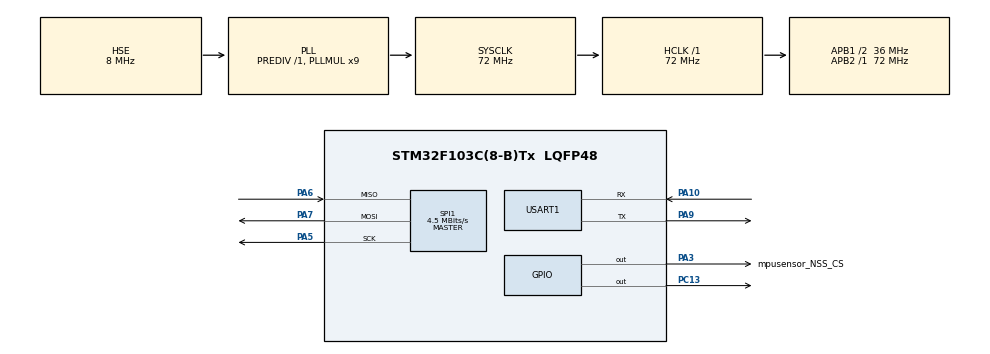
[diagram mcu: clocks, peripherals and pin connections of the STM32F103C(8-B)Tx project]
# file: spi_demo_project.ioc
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Mcu.Family=STM32F1
Mcu.Name=STM32F103C(8-B)Tx
Mcu.Package=LQFP48
NVIC.PriorityGroup=NVIC_PRIORITYGROUP_4
NVIC.USART1_IRQn=true\:0\:0\:false\:false\:true\:true\:true
PA10.Mode=Asynchronous
PA10.Signal=USART1_RX
PA13.Mode=Serial_Wire
PA13.Signal=SYS_JTMS-SWDIO
PA14.Mode=Serial_Wire
PA14.Signal=SYS_JTCK-SWCLK
PA3.GPIO_Label=mpusensor_NSS_CS
PA3.Signal=GPIO_Output
PA5.Mode=Full_Duplex_Master
PA5.Signal=SPI1_SCK
PA6.Mode=Full_Duplex_Master
PA6.Signal=SPI1_MISO
PA7.Mode=Full_Duplex_Master
PA7.Signal=SPI1_MOSI
PA9.Mode=Asynchronous
PA9.Signal=USART1_TX
PC13-TAMPER-RTC.Signal=GPIO_Output
PD0-OSC_IN.Mode=HSE-External-Oscillator
PD0-OSC_IN.Signal=RCC_OSC_IN
PD1-OSC_OUT.Mode=HSE-External-Oscillator
PD1-OSC_OUT.Signal=RCC_OSC_OUT
ProjectManager.HeapSize=0x200
ProjectManager.StackSize=0x400
ProjectManager.TargetToolchain=STM32CubeIDE
RCC.AHBFreq_Value=72000000
RCC.APB1CLKDivider=RCC_HCLK_DIV2
RCC.APB1Freq_Value=36000000
RCC.APB1TimFreq_Value=72000000
RCC.APB2Freq_Value=72000000
RCC.APB2TimFreq_Value=72000000
RCC.HCLKFreq_Value=72000000
RCC.PLLMUL=RCC_PLL_MUL9
RCC.PLLSourceVirtual=RCC_PLLSOURCE_HSE
RCC.SYSCLKFreq_VALUE=72000000
RCC.SYSCLKSource=RCC_SYSCLKSOURCE_PLLCLK
RCC.USBFreq_Value=72000000
SPI1.BaudRatePrescaler=SPI_BAUDRATEPRESCALER_16
SPI1.CalculateBaudRate=4.5 MBits/s
SPI1.Direction=SPI_DIRECTION_2LINES
SPI1.Mode=SPI_MODE_MASTER
SPI1.VirtualType=VM_MASTER
USART1.VirtualMode=VM_ASYNC
board=custom

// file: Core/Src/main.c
/* USER CODE BEGIN Header */
/**
 ******************************************************************************
 * @file           : main.c
 * @brief          : Main program body
 ******************************************************************************
 * @attention
 *
 * Copyright (c) 2026 STMicroelectronics.
 * All rights reserved.
 *
 * This software is licensed under terms that can be found in the LICENSE file
 * in the root directory of this software component.
 * If no LICENSE file comes with this software, it is provided AS-IS.
 *
 ******************************************************************************
 */
/* USER CODE END Header */
#include "main.h"

/* USER CODE BEGIN Includes */
#include "MPU6500.h"
#include <stdio.h>
#include <string.h>
/* USER CODE END Includes */

SPI_HandleTypeDef hspi1;

UART_HandleTypeDef huart1;

/* USER CODE BEGIN PV */
int MPU6500_FLAG = 0;

int16_t accel[3];
int16_t gyro[3];

int16_t sensor_data[9];

char msg[150];

float accel_g[3];
float gyro_dps[3];

/* USER CODE END PV */

void SystemClock_Config(void);
static void MX_GPIO_Init(void);
static void MX_SPI1_Init(void);
static void MX_USART1_UART_Init(void);

int main(void)
{

  /* MCU Configuration--------------------------------------------------------*/

  /* Reset of all peripherals, Initializes the Flash interface and the Systick. */
  HAL_Init();

  /* Configure the system clock */
  SystemClock_Config();

  /* Initialize all configured peripherals */
  MX_GPIO_Init();
  MX_SPI1_Init();
  MX_USART1_UART_Init();
  /* USER CODE BEGIN 2 */

	if (WHO_AM_I_MPU6500_REG_DEFAULT == MPU6500_TEST()) {

		MPU6500_FLAG = 1;
	    HAL_Delay(1000);
	    MPU6500_Calibrate();

	} else {
		MPU6500_FLAG = 0;
	}
  /* USER CODE END 2 */

  /* Infinite loop */
	while (1)
	{

    /* USER CODE BEGIN 3 */

		if (MPU6500_FLAG == 1)
		{
		    /* Read Accelerometer */
		    MPU6500_Read_Accel(&accel[0],
		                       &accel[1],
		                       &accel[2]);

		    /* Read Gyroscope */
		    MPU6500_Read_Gyro(&gyro[0],
		                      &gyro[1],
		                      &gyro[2]);

		    /* Print Converted Values Only */

		    sprintf(msg,
		            "AX=%.2f g AY=%.2f g AZ=%.2f g | "
		            "GX=%.2f dps GY=%.2f dps GZ=%.2f dps\r\n",

		            accel_g[0],
		            accel_g[1],
		            accel_g[2],

		            gyro_dps[0],
		            gyro_dps[1],
		            gyro_dps[2]);

		    HAL_UART_Transmit(&huart1,
		                      (uint8_t*)msg,
		                      strlen(msg),
		                      HAL_MAX_DELAY);

		    HAL_Delay(500);
		}
	    else
	    {
	        sprintf(msg,
	                "ERROR: MPU6500 NOT DETECTED\r\n");

//	        HAL_UART_Transmit(&huart1,
//	                          (uint8_t*)msg,
//	                          strlen(msg),
//	                          HAL_MAX_DELAY);

	        HAL_UART_Transmit(&huart1,
	                          (uint8_t*)msg,
	                          sizeof(msg),
	                          HAL_MAX_DELAY);
	        HAL_Delay(1000);
	    }

  /* USER CODE END 3 */
}
}

void SystemClock_Config(void)
{
  RCC_OscInitTypeDef RCC_OscInitStruct = {0};
  RCC_ClkInitTypeDef RCC_ClkInitStruct = {0};

  /** Initializes the RCC Oscillators according to the specified parameters
  * in the RCC_OscInitTypeDef structure.
  */
  RCC_OscInitStruct.OscillatorType = RCC_OSCILLATORTYPE_HSE;
  RCC_OscInitStruct.HSEState = RCC_HSE_ON;
  RCC_OscInitStruct.HSEPredivValue = RCC_HSE_PREDIV_DIV1;
  RCC_OscInitStruct.HSIState = RCC_HSI_ON;
  RCC_OscInitStruct.PLL.PLLState = RCC_PLL_ON;
  RCC_OscInitStruct.PLL.PLLSource = RCC_PLLSOURCE_HSE;
  RCC_OscInitStruct.PLL.PLLMUL = RCC_PLL_MUL9;
  if (HAL_RCC_OscConfig(&RCC_OscInitStruct) != HAL_OK)
  {
    Error_Handler();
  }
  /** Initializes the CPU, AHB and APB buses clocks
  */
  RCC_ClkInitStruct.ClockType = RCC_CLOCKTYPE_HCLK|RCC_CLOCKTYPE_SYSCLK
                              |RCC_CLOCKTYPE_PCLK1|RCC_CLOCKTYPE_PCLK2;
  RCC_ClkInitStruct.SYSCLKSource = RCC_SYSCLKSOURCE_PLLCLK;
  RCC_ClkInitStruct.AHBCLKDivider = RCC_SYSCLK_DIV1;
  RCC_ClkInitStruct.APB1CLKDivider = RCC_HCLK_DIV2;
  RCC_ClkInitStruct.APB2CLKDivider = RCC_HCLK_DIV1;

  if (HAL_RCC_ClockConfig(&RCC_ClkInitStruct, FLASH_LATENCY_2) != HAL_OK)
  {
    Error_Handler();
  }
}

static void MX_SPI1_Init(void)
{

  /* SPI1 parameter configuration*/
  hspi1.Instance = SPI1;
  hspi1.Init.Mode = SPI_MODE_MASTER;
  hspi1.Init.Direction = SPI_DIRECTION_2LINES;
  hspi1.Init.DataSize = SPI_DATASIZE_8BIT;
  hspi1.Init.CLKPolarity = SPI_POLARITY_LOW;
  hspi1.Init.CLKPhase = SPI_PHASE_1EDGE;
  hspi1.Init.NSS = SPI_NSS_SOFT;
  hspi1.Init.BaudRatePrescaler = SPI_BAUDRATEPRESCALER_16;
  hspi1.Init.FirstBit = SPI_FIRSTBIT_MSB;
  hspi1.Init.TIMode = SPI_TIMODE_DISABLE;
  hspi1.Init.CRCCalculation = SPI_CRCCALCULATION_DISABLE;
  hspi1.Init.CRCPolynomial = 10;
  if (HAL_SPI_Init(&hspi1) != HAL_OK)
  {
    Error_Handler();
  }

}

static void MX_USART1_UART_Init(void)
{

  huart1.Instance = USART1;
  huart1.Init.BaudRate = 115200;
  huart1.Init.WordLength = UART_WORDLENGTH_8B;
  huart1.Init.StopBits = UART_STOPBITS_1;
  huart1.Init.Parity = UART_PARITY_NONE;
  huart1.Init.Mode = UART_MODE_TX_RX;
  huart1.Init.HwFlowCtl = UART_HWCONTROL_NONE;
  huart1.Init.OverSampling = UART_OVERSAMPLING_16;
  if (HAL_UART_Init(&huart1) != HAL_OK)
  {
    Error_Handler();
  }

}

static void MX_GPIO_Init(void)
{
  GPIO_InitTypeDef GPIO_InitStruct = {0};

  /* GPIO Ports Clock Enable */
  __HAL_RCC_GPIOC_CLK_ENABLE();
  __HAL_RCC_GPIOD_CLK_ENABLE();
  __HAL_RCC_GPIOA_CLK_ENABLE();

  /*Configure GPIO pin Output Level */
  HAL_GPIO_WritePin(GPIOC, GPIO_PIN_13, GPIO_PIN_RESET);

  /*Configure GPIO pin Output Level */
  HAL_GPIO_WritePin(mpusensor_NSS_CS_GPIO_Port, mpusensor_NSS_CS_Pin, GPIO_PIN_SET);

  /*Configure GPIO pin : PC13 */
  GPIO_InitStruct.Pin = GPIO_PIN_13;
  GPIO_InitStruct.Mode = GPIO_MODE_OUTPUT_PP;
  GPIO_InitStruct.Pull = GPIO_NOPULL;
  GPIO_InitStruct.Speed = GPIO_SPEED_FREQ_LOW;
  HAL_GPIO_Init(GPIOC, &GPIO_InitStruct);

  /*Configure GPIO pin : mpusensor_NSS_CS_Pin */
  GPIO_InitStruct.Pin = mpusensor_NSS_CS_Pin;
  GPIO_InitStruct.Mode = GPIO_MODE_OUTPUT_PP;
  GPIO_InitStruct.Pull = GPIO_NOPULL;
  GPIO_InitStruct.Speed = GPIO_SPEED_FREQ_LOW;
  HAL_GPIO_Init(mpusensor_NSS_CS_GPIO_Port, &GPIO_InitStruct);

}

void Error_Handler(void)
{
	__disable_irq();
	while (1) {
	}
}

/************************ (C) COPYRIGHT STMicroelectronics *****END OF FILE****/
